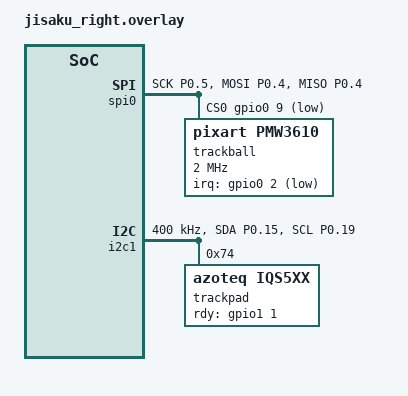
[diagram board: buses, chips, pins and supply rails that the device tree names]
/*
 * 右手（親・central。USB をつなぐと ZMK Studio で割り当てを変えられる）: キー 24＋5方向キー
 * 玉のセンサー PMW3610（SPI）・トラックパッド IQS525（I2C）
 */
#include <zephyr/dt-bindings/input/input-event-codes.h>
#include <input/processors.dtsi>
#include "jisaku.dtsi"

&default_transform {
    col-offset = <7>;
};

&kscan0 {
    col-gpios
        = <&gpio0  3 GPIO_ACTIVE_HIGH>   /* col0 D1 */
        , <&gpio0 28 GPIO_ACTIVE_HIGH>   /* col1 D2 */
        , <&gpio0 29 GPIO_ACTIVE_HIGH>   /* col2 D3 */
        , <&gpio1 11 GPIO_ACTIVE_HIGH>   /* col3 D6 */
        , <&gpio1 12 GPIO_ACTIVE_HIGH>   /* col4 D7 */
        , <&gpio1 13 GPIO_ACTIVE_HIGH>   /* col5 D8 */
        , <&gpio1 14 GPIO_ACTIVE_HIGH>   /* col6 D9 */
        ;
};

&pinctrl {
    /* PMW3610: SCLK = D5 P0.05、SDIO = D4 P0.04（1本で送りと受け）。roBa と同じ足 */
    spi0_default: spi0_default {
        group1 {
            psels = <NRF_PSEL(SPIM_SCK, 0, 5)>,
                    <NRF_PSEL(SPIM_MOSI, 0, 4)>,
                    <NRF_PSEL(SPIM_MISO, 0, 4)>;
        };
    };
    spi0_sleep: spi0_sleep {
        group1 {
            psels = <NRF_PSEL(SPIM_SCK, 0, 5)>,
                    <NRF_PSEL(SPIM_MOSI, 0, 4)>,
                    <NRF_PSEL(SPIM_MISO, 0, 4)>;
            low-power-enable;
        };
    };

    /* トラックパッド: SDA = D11 P0.15、SCL = D12 P0.19（基板の R1 R2 4.7kΩ で 3.3V へ） */
    i2c1_default: i2c1_default {
        group1 {
            psels = <NRF_PSEL(TWIM_SDA, 0, 15)>,
                    <NRF_PSEL(TWIM_SCL, 0, 19)>;
        };
    };
    i2c1_sleep: i2c1_sleep {
        group1 {
            psels = <NRF_PSEL(TWIM_SDA, 0, 15)>,
                    <NRF_PSEL(TWIM_SCL, 0, 19)>;
            low-power-enable;
        };
    };
};

&spi0 {
    status = "okay";
    compatible = "nordic,nrf-spim";
    pinctrl-0 = <&spi0_default>;
    pinctrl-1 = <&spi0_sleep>;
    pinctrl-names = "default", "sleep";
    cs-gpios = <&gpio0 9 GPIO_ACTIVE_LOW>;   /* NCS = D14 P0.09 (NFC1) */

    trackball: trackball@0 {
        status = "okay";
        compatible = "pixart,pmw3610";
        reg = <0>;
        spi-max-frequency = <2000000>;
        irq-gpios = <&gpio0 2 (GPIO_ACTIVE_LOW | GPIO_PULL_UP)>;   /* MOTION = D0 P0.02 */
        cpi = <800>;
        evt-type = <INPUT_EV_REL>;
        x-input-code = <INPUT_REL_X>;
        y-input-code = <INPUT_REL_Y>;
    };
};

&spi1 { status = "disabled"; };   /* i2c1 と同じ回路なので止める */

&i2c1 {
    status = "okay";
    compatible = "nordic,nrf-twi";
    pinctrl-0 = <&i2c1_default>;
    pinctrl-1 = <&i2c1_sleep>;
    pinctrl-names = "default", "sleep";
    clock-frequency = <I2C_BITRATE_FAST>;

    trackpad: iqs5xx@74 {
        status = "okay";
        compatible = "azoteq,iqs5xx";
        reg = <0x74>;
        rdy-gpios = <&gpio1 1 GPIO_ACTIVE_HIGH>;   /* RDY = D13 P1.01（リセットの足は基板に出ていない） */
        one-finger-tap;
        two-finger-tap;
        press-and-hold;
        scroll;
        natural-scroll-x;
        natural-scroll-y;
    };
};

/ {
    /* 玉: 普段はカーソル。動かすと 0.7 秒だけ「マウス」の層（7）が開く。「スクロール」の層（6）では縦横のスクロール */
    trackball_listener: trackball_listener {
        compatible = "zmk,input-listener";
        device = <&trackball>;
        input-processors = <&zip_temp_layer 7 700>;

        scroller {
            layers = <6>;
            input-processors = <&zip_xy_scaler 1 8 &zip_xy_to_scroll_mapper>;   /* 先に小さくしてからスクロールに変える */
        };
    };

    /* トラックパッド: カーソル・1本指タップ＝左クリック・2本指タップ＝右クリック・2本指でスクロール */
    trackpad_listener: trackpad_listener {
        compatible = "zmk,input-listener";
        device = <&trackpad>;
    };

    /* 左のスティック: 普段はスクロール（MeKaBu と同じ）。「スクロール」の層（6）ではカーソル */
    stick_listener: stick_listener {
        compatible = "zmk,input-listener";
        device = <&stick_split>;
        input-processors = <&zip_xy_to_scroll_mapper>;

        pointer {
            layers = <6>;
            input-processors = <&zip_xy_scaler 1 1>;
        };
    };
};
